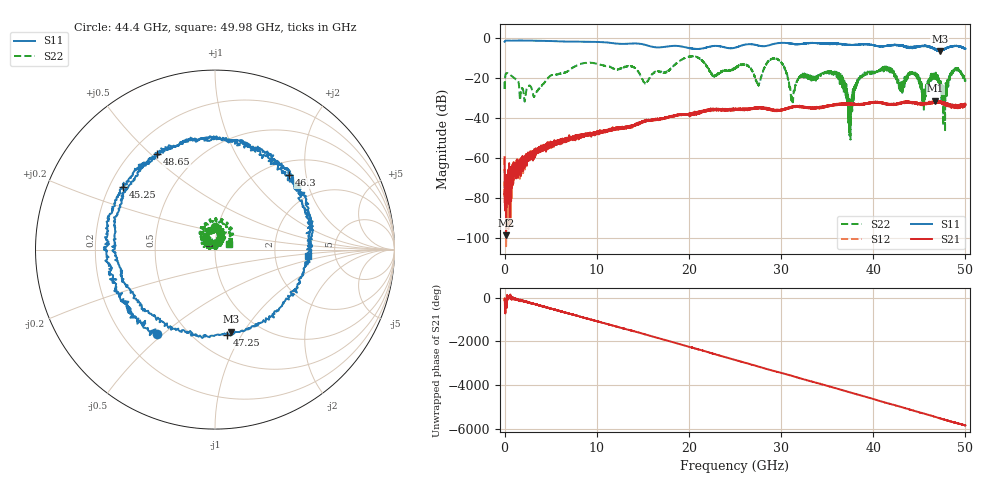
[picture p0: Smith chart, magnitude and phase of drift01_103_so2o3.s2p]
!Created with skrf (http://scikit-rf.org).
# Hz S RI R 50.0
!freq ReS11 ImS11 ReS21 ImS21 ReS12 ImS12 ReS22 ImS22
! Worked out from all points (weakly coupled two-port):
!   10001 points, 300 kHz to 50 GHz, reference 50 ohm
!   highest |S21| = -31.49 dB at 46.72 GHz (marker M1); lowest = -98.7 dB at 155.3 MHz (marker M2)
!   lowest |S11| = -6.6 dB at 47.21 GHz (marker M3), VSWR 2.75, Z = 37.6 - j44.1 ohm
!   |S11| at or under -10 dB: nowhere
!   |S22| runs from -50.9 to -9.2 dB; largest |S21 - S12| = 0.0036
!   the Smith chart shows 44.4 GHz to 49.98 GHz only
!   S11 on the Smith chart (normalised r, x): 44.4 GHz: 0.34, -0.48; 45.25 GHz: 0.25, +0.29; 46.3 GHz: 1.26, +1.60; 47.25 GHz: 0.70, -0.86; 48.65 GHz: 0.30, +0.53; 49.98 GHz: 3.15, -0.31
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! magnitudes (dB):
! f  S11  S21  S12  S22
! 300 kHz  -2.0  -59.7  -60.2  -22.0
! 155.3 MHz  -1.5  -98.7  -77.8  -17.8
! 3.285 GHz  -1.5  -57.2  -57.8  -28.8
! 8.335 GHz  -1.9  -49.0  -49.0  -12.9
! 16.67 GHz  -4.8  -41.2  -40.6  -16.6
! 25 GHz  -5.0  -35.6  -36.0  -15.4
! 29.58 GHz  -2.8  -36.0  -36.6  -10.6
! 31.24 GHz  -3.0  -34.5  -34.8  -32.1
! 33.34 GHz  -2.6  -35.3  -34.9  -19.8
! 36.08 GHz  -3.0  -33.2  -33.5  -18.1
! 37.51 GHz  -3.6  -33.2  -32.9  -33.1
! 38.66 GHz  -3.3  -33.4  -33.2  -20.0
! 41.67 GHz  -3.9  -33.2  -33.3  -15.9
! 44.4 GHz  -4.9  -32.8  -32.5  -17.8
! 45.25 GHz  -4.1  -32.4  -32.9  -24.2
! 46.3 GHz  -4.7  -32.5  -32.6  -18.9
! 46.72 GHz  -5.7  -31.5  -32.1  -19.1
! 47.21 GHz  -6.6  -32.2  -32.2  -25.2
! 47.25 GHz  -6.4  -32.1  -31.8  -25.7
! 48.65 GHz  -4.1  -33.9  -33.9  -17.1
! 49.98 GHz  -5.7  -33.8  -33.3  -21.2
! 50 GHz  -5.5  -33.2  -33.8  -21.6
